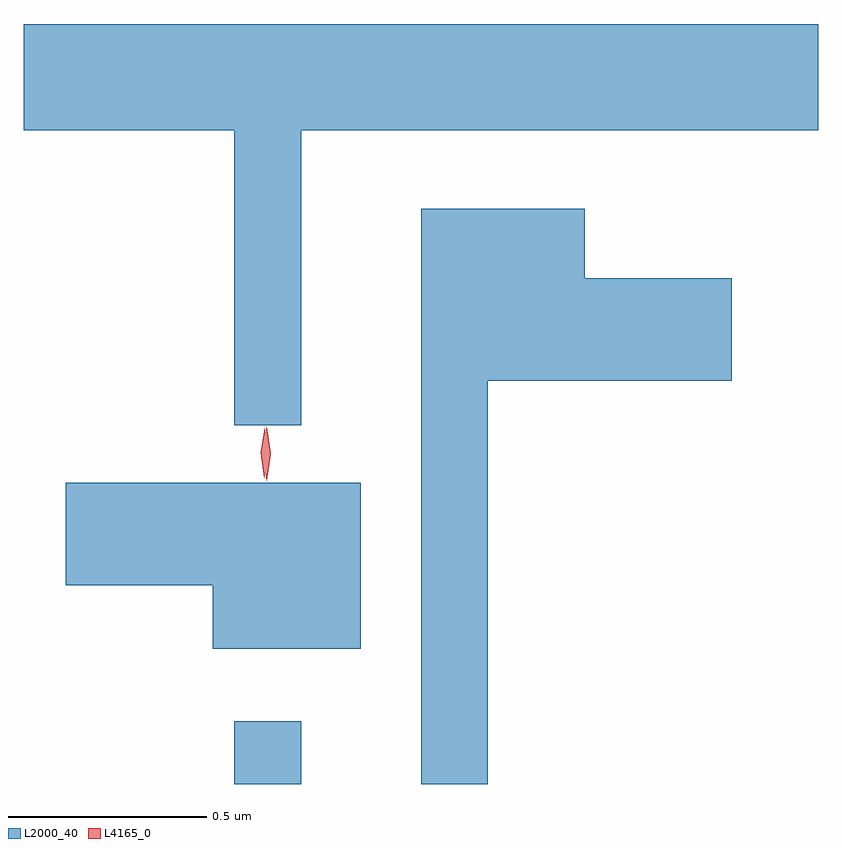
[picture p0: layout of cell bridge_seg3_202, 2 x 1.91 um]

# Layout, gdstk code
import gdstk
lib = gdstk.Library(unit=1e-6, precision=1e-09)
def R(c, l, rs):  # rectangles x0, y0, x1, y1
    for r in rs: c.add(gdstk.rectangle(r[:2], r[2:], *l))
def P(c, l, *ps):  # polygons
    for p in ps: c.add(gdstk.Polygon(p, *l))
L2000_40 = (2000, 40)
L4165_0 = (4165, 0)

bridge_seg3_202 = lib.new_cell('bridge_seg3_202')
R(bridge_seg3_202, L2000_40, [(789.961,1179.87,790.129,1180.028)])
P(bridge_seg3_202, L2000_40, [(790.129,1181.516),(791.431,1181.516),(791.431,1181.784),(789.431,1181.784),(789.431,1181.516),(789.961,1181.516),(789.961,1180.773),(790.129,1180.773)],
  [(790.599,1180.886),(791.214,1180.886),(791.214,1181.144),(790.844,1181.144),(790.844,1181.319),(790.431,1181.319),(790.431,1179.87),(790.599,1179.87)],
  [(790.279,1180.629),(789.536,1180.629),(789.536,1180.371),(789.906,1180.371),(789.906,1180.211),(790.279,1180.211)])
P(bridge_seg3_202, L4165_0, [(790.042,1180.634),(790.033,1180.702),(790.042,1180.77),(790.043,1180.77),(790.043,1180.77),(790.053,1180.702),(790.043,1180.634),(790.043,1180.634)],
  [(790.036,1180.64),(790.036,1180.641),(790.027,1180.704),(790.037,1180.766),(790.038,1180.767),(790.038,1180.766),(790.047,1180.704),(790.036,1180.641)])

lib.write_gds('bridge_seg3_202.gds')
